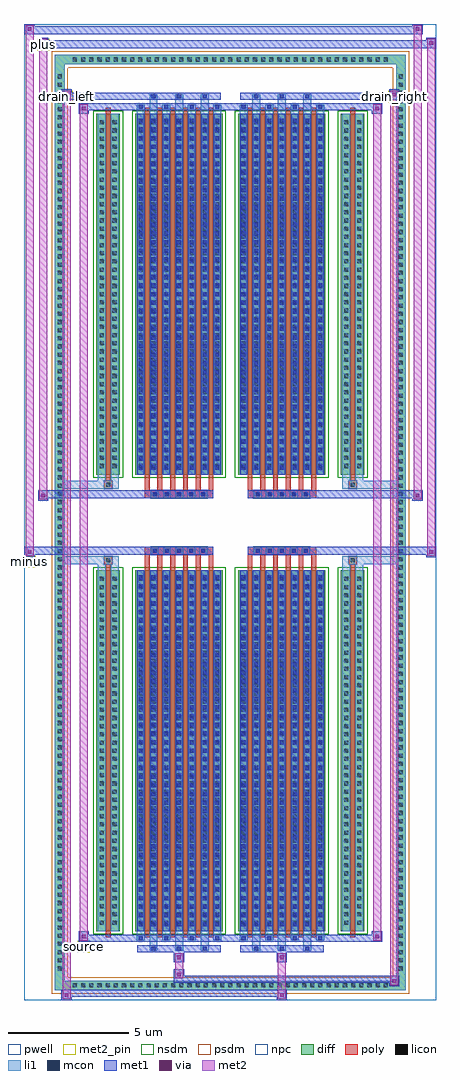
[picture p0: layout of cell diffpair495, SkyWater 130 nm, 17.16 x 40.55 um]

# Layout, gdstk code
import gdstk
lib = gdstk.Library(unit=1e-6, precision=5e-09)
def R(c, l, rs):  # rectangles x0, y0, x1, y1
    for r in rs: c.add(gdstk.rectangle(r[:2], r[2:], *l))
def A(c, l, x, y, w, h, nx, ny, dx, dy):  # array of equal rectangles
    R(c, l, [(x+i*dx, y+j*dy, x+i*dx+w, y+j*dy+h) for i in range(nx) for j in range(ny)])
def P(c, l, *ps):  # polygons
    for p in ps: c.add(gdstk.Polygon(p, *l))
pwell = (64, 44)
diff = (65, 20)
poly = (66, 20)
licon = (66, 44)
li1 = (67, 20)
mcon = (67, 44)
met1 = (68, 20)
via = (68, 44)
met2_pin = (69, 16)
met2 = (69, 20)
nsdm = (93, 44)
psdm = (94, 20)
npc = (95, 20)

diffpair495 = lib.new_cell('diffpair495')
R(diffpair495, pwell, [(-8.56,-19.84,8.56,20.71), (-5.88,-18.03,-0.01,-0.805), (0.01,-18.03,5.88,-0.805), (-5.88,0.805,-0.01,18.03), (0.01,0.805,5.88,18.03)])
A(diffpair495, diff, -6.665, -19.44, 0.41, 0.41, 39, 2, 0.34, 38.47)
A(diffpair495, diff, -7.29, -18.735, 0.41, 0.41, 1, 110, 0, 0.34)
A(diffpair495, diff, 6.88, -18.735, 0.41, 0.41, 1, 110, 0, 0.34)
R(diffpair495, diff, [(-6.665,-19.44,6.665,-19.03), (-7.29,-18.735,-6.88,18.735), (6.88,-18.735,7.29,18.735), (-5.57,-16.985,-4.59,-1.985), (-3.95,-16.985,-0.32,-1.985), (0.32,-16.985,3.95,-1.985), (4.59,-16.985,5.57,-1.985), (-5.57,1.985,-4.59,16.985), (-3.95,1.985,-0.32,16.985), (0.32,1.985,3.95,16.985), (4.59,1.985,5.57,16.985), (-6.665,19.03,6.665,19.44)])
P(diffpair495, diff, [(7.29,19.44),(-7.29,19.44),(-7.29,-19.03),(-6.88,-19.03),(-6.88,19.03),(6.88,19.03),(6.88,-19.03),(-6.88,-19.03),(-7.29,-19.03),(-7.29,-19.44),(7.29,-19.44)])
A(diffpair495, poly, -3.56, -17.235, 0.2, 15.5, 6, 2, 0.53, 18.97)
A(diffpair495, poly, 0.71, -17.235, 0.2, 15.5, 6, 2, 0.53, 18.97)
A(diffpair495, poly, -3.56, -1.735, 0.2, 0.4, 6, 2, 0.53, 3.07)
A(diffpair495, poly, 0.71, -1.735, 0.2, 0.4, 6, 2, 0.53, 3.07)
A(diffpair495, poly, -3.3, -1.335, 0.33, 0.33, 5, 2, 0.5, 2.34)
A(diffpair495, poly, 0.97, -1.335, 0.33, 0.33, 5, 2, 0.5, 2.34)
R(diffpair495, poly, [(-5.18,-17.235,-4.98,-1.735), (4.98,-17.235,5.18,-1.735), (-5.245,-1.735,-4.915,-1.405), (-5.245,-1.735,-4.915,-1.405), (4.915,-1.735,5.245,-1.405), (4.915,-1.735,5.245,-1.405), (-3.56,-1.335,-0.71,-1.005), (0.71,-1.335,3.56,-1.005), (-3.56,1.005,-0.71,1.335), (0.71,1.005,3.56,1.335), (-5.245,1.405,-4.915,1.735), (-5.245,1.405,-4.915,1.735), (4.915,1.405,5.245,1.735), (4.915,1.405,5.245,1.735), (-5.18,1.735,-4.98,17.235), (4.98,1.735,5.18,17.235)])
A(diffpair495, licon, -6.545, -19.32, 0.17, 0.17, 39, 2, 0.34, 38.47)
A(diffpair495, licon, -7.17, -18.615, 0.17, 0.17, 1, 110, 0, 0.34)
A(diffpair495, licon, 7, -18.615, 0.17, 0.17, 1, 110, 0, 0.34)
A(diffpair495, licon, -5.43, -16.71, 0.17, 0.17, 1, 43, 0, 0.34)
A(diffpair495, licon, -4.9, -16.71, 0.17, 0.17, 1, 43, 0, 0.34)
A(diffpair495, licon, -3.81, -16.71, 0.17, 0.17, 7, 43, 0.53, 0.34)
A(diffpair495, licon, 0.46, -16.71, 0.17, 0.17, 7, 43, 0.53, 0.34)
A(diffpair495, licon, 4.73, -16.71, 0.17, 0.17, 1, 43, 0, 0.34)
A(diffpair495, licon, 5.26, -16.71, 0.17, 0.17, 1, 43, 0, 0.34)
A(diffpair495, licon, -3.22, -1.255, 0.17, 0.17, 5, 2, 0.5, 2.34)
A(diffpair495, licon, 1.05, -1.255, 0.17, 0.17, 5, 2, 0.5, 2.34)
A(diffpair495, licon, -5.43, 2.26, 0.17, 0.17, 1, 43, 0, 0.34)
A(diffpair495, licon, -4.9, 2.26, 0.17, 0.17, 1, 43, 0, 0.34)
A(diffpair495, licon, -3.81, 2.26, 0.17, 0.17, 7, 43, 0.53, 0.34)
A(diffpair495, licon, 0.46, 2.26, 0.17, 0.17, 7, 43, 0.53, 0.34)
A(diffpair495, licon, 4.73, 2.26, 0.17, 0.17, 1, 43, 0, 0.34)
A(diffpair495, licon, 5.26, 2.26, 0.17, 0.17, 1, 43, 0, 0.34)
R(diffpair495, licon, [(-5.165,-1.655,-4.995,-1.485), (4.995,-1.655,5.165,-1.485), (-5.165,1.485,-4.995,1.655), (4.995,1.485,5.165,1.655)])
A(diffpair495, li1, -6.625, -19.4, 0.33, 0.33, 39, 2, 0.34, 38.47)
A(diffpair495, li1, -7.25, -18.695, 0.33, 0.33, 1, 110, 0, 0.34)
A(diffpair495, li1, 6.92, -18.695, 0.33, 0.33, 1, 110, 0, 0.34)
A(diffpair495, li1, -3.36, -17.79, 0.33, 0.805, 3, 2, 1.06, 34.775)
A(diffpair495, li1, -3.28, -17.79, 0.17, 0.17, 3, 2, 1.06, 35.41)
A(diffpair495, li1, 0.91, -17.79, 0.33, 0.805, 3, 2, 1.06, 34.775)
A(diffpair495, li1, 0.99, -17.79, 0.17, 0.17, 3, 2, 1.06, 35.41)
A(diffpair495, li1, -3.89, -17.36, 0.33, 0.375, 4, 2, 1.06, 34.345)
A(diffpair495, li1, -3.81, -17.36, 0.17, 0.17, 4, 2, 1.06, 34.55)
A(diffpair495, li1, 0.38, -17.36, 0.33, 0.375, 4, 2, 1.06, 34.345)
A(diffpair495, li1, 0.46, -17.36, 0.17, 0.17, 4, 2, 1.06, 34.55)
A(diffpair495, li1, -3.89, -16.985, 0.33, 15, 7, 2, 0.53, 18.97)
A(diffpair495, li1, 0.38, -16.985, 0.33, 15, 7, 2, 0.53, 18.97)
A(diffpair495, li1, -5.51, -16.79, 0.33, 0.33, 1, 43, 0, 0.34)
A(diffpair495, li1, -4.98, -16.79, 0.33, 0.33, 1, 43, 0, 0.34)
A(diffpair495, li1, -3.89, -16.79, 0.33, 0.33, 7, 43, 0.53, 0.34)
A(diffpair495, li1, 0.38, -16.79, 0.33, 0.33, 7, 43, 0.53, 0.34)
A(diffpair495, li1, 4.65, -16.79, 0.33, 0.33, 1, 43, 0, 0.34)
A(diffpair495, li1, 5.18, -16.79, 0.33, 0.33, 1, 43, 0, 0.34)
A(diffpair495, li1, -3.81, -16.77, 0.17, 0.17, 7, 41, 0.53, 0.36)
A(diffpair495, li1, -3.81, -16.77, 0.17, 14.57, 7, 2, 0.53, 18.97)
A(diffpair495, li1, 0.46, -16.77, 0.17, 0.17, 7, 41, 0.53, 0.36)
A(diffpair495, li1, 0.46, -16.77, 0.17, 14.57, 7, 2, 0.53, 18.97)
A(diffpair495, li1, -3.3, -1.335, 0.33, 0.33, 5, 2, 0.5, 2.34)
A(diffpair495, li1, 0.97, -1.335, 0.33, 0.33, 5, 2, 0.5, 2.34)
A(diffpair495, li1, -5.51, 2.18, 0.33, 0.33, 1, 43, 0, 0.34)
A(diffpair495, li1, -4.98, 2.18, 0.33, 0.33, 1, 43, 0, 0.34)
A(diffpair495, li1, -3.89, 2.18, 0.33, 0.33, 7, 43, 0.53, 0.34)
A(diffpair495, li1, 0.38, 2.18, 0.33, 0.33, 7, 43, 0.53, 0.34)
A(diffpair495, li1, 4.65, 2.18, 0.33, 0.33, 1, 43, 0, 0.34)
A(diffpair495, li1, 5.18, 2.18, 0.33, 0.33, 1, 43, 0, 0.34)
A(diffpair495, li1, -3.81, 2.2, 0.17, 0.17, 7, 41, 0.53, 0.36)
A(diffpair495, li1, 0.46, 2.2, 0.17, 0.17, 7, 41, 0.53, 0.36)
R(diffpair495, li1, [(-7.29,-19.44,-6.88,-19.03), (-7.29,-19.44,-6.88,-19.03), (-6.88,-19.44,6.88,-19.03), (6.88,-19.44,7.29,-19.03), (6.88,-19.44,7.29,-19.03), (-7.29,-19.03,-6.88,19.03), (6.88,-19.03,7.29,19.03), (-5.51,-16.985,-5.18,-1.985), (-4.98,-16.985,-4.65,-1.985), (4.65,-16.985,4.98,-1.985), (5.18,-16.985,5.51,-1.985), (-5.51,-1.985,-5.18,-1.405), (-4.98,-1.985,-4.65,-1.405), (4.65,-1.985,4.98,-1.405), (5.18,-1.985,5.51,-1.405), (-7.29,-1.735,-5.245,-1.405), (-5.51,-1.735,-5.245,-1.405), (-5.245,-1.735,-4.915,-1.405), (-4.915,-1.735,-4.65,-1.405), (4.65,-1.735,4.915,-1.405), (4.915,-1.735,5.245,-1.405), (4.915,-1.735,7.29,-1.405), (5.245,-1.735,5.51,-1.405), (-7.29,1.405,-5.245,1.735), (-5.51,1.405,-5.245,1.735), (-5.51,1.405,-5.18,1.985), (-5.245,1.405,-4.915,1.735), (-4.98,1.405,-4.65,1.985), (-4.915,1.405,-4.65,1.735), (4.65,1.405,4.915,1.735), (4.65,1.405,4.98,1.985), (4.915,1.405,5.245,1.735), (4.915,1.405,7.29,1.735), (5.18,1.405,5.51,1.985), (5.245,1.405,5.51,1.735), (-5.51,1.985,-5.18,16.985), (-4.98,1.985,-4.65,16.985), (4.65,1.985,4.98,16.985), (5.18,1.985,5.51,16.985), (-7.29,19.03,-6.88,19.44), (-7.29,19.03,-6.88,19.44), (-6.88,19.03,6.88,19.44), (6.88,19.03,7.29,19.44), (6.88,19.03,7.29,19.44)])
A(diffpair495, mcon, -3.28, -17.79, 0.17, 0.17, 3, 2, 1.06, 35.41)
A(diffpair495, mcon, 0.99, -17.79, 0.17, 0.17, 3, 2, 1.06, 35.41)
A(diffpair495, mcon, -3.81, -17.36, 0.17, 0.17, 4, 2, 1.06, 34.55)
A(diffpair495, mcon, 0.46, -17.36, 0.17, 0.17, 4, 2, 1.06, 34.55)
A(diffpair495, mcon, -3.81, -16.77, 0.17, 0.17, 7, 41, 0.53, 0.36)
A(diffpair495, mcon, 0.46, -16.77, 0.17, 0.17, 7, 41, 0.53, 0.36)
A(diffpair495, mcon, -3.22, -1.255, 0.17, 0.17, 5, 2, 0.5, 2.34)
A(diffpair495, mcon, 1.05, -1.255, 0.17, 0.17, 5, 2, 0.5, 2.34)
A(diffpair495, mcon, -3.81, 2.2, 0.17, 0.17, 7, 41, 0.53, 0.36)
A(diffpair495, mcon, 0.46, 2.2, 0.17, 0.17, 7, 41, 0.53, 0.36)
A(diffpair495, met1, -3.34, -17.85, 0.29, 0.29, 3, 2, 1.06, 35.41)
A(diffpair495, met1, 0.93, -17.85, 0.29, 0.29, 3, 2, 1.06, 35.41)
A(diffpair495, met1, -3.87, -17.42, 0.29, 0.29, 4, 2, 1.06, 34.55)
A(diffpair495, met1, 0.4, -17.42, 0.29, 0.29, 4, 2, 1.06, 34.55)
A(diffpair495, met1, -3.87, -16.985, 0.29, 15, 7, 2, 0.53, 18.97)
A(diffpair495, met1, 0.4, -16.985, 0.29, 15, 7, 2, 0.53, 18.97)
A(diffpair495, met1, -3.87, -16.83, 0.29, 0.29, 7, 41, 0.53, 0.36)
A(diffpair495, met1, 0.4, -16.83, 0.29, 0.29, 7, 41, 0.53, 0.36)
A(diffpair495, met1, -3.28, -1.315, 0.29, 0.29, 5, 2, 0.5, 2.34)
A(diffpair495, met1, 0.99, -1.315, 0.29, 0.29, 5, 2, 0.5, 2.34)
A(diffpair495, met1, -3.87, 2.14, 0.29, 0.29, 7, 41, 0.53, 0.36)
A(diffpair495, met1, 0.4, 2.14, 0.29, 0.29, 7, 41, 0.53, 0.36)
R(diffpair495, met1, [(-7.02,-19.84,-6.59,-19.41), (1.92,-19.84,2.35,-19.41), (-7.02,-19.7,2.35,-19.41), (6.59,-19.27,7.02,-18.84), (-2.35,-19.13,7.02,-18.84), (-2.35,-18.99,-1.92,-18.56), (-2.35,-18.28,-1.92,-17.85), (1.92,-18.28,2.35,-17.85), (-3.87,-17.85,-0.4,-17.56), (0.4,-17.85,3.87,-17.56), (-6.31,-17.42,-5.88,-16.99), (-6.31,-17.42,-3.87,-17.13), (-3.87,-17.42,-0.4,-17.13), (-0.4,-17.42,0.4,-17.13), (0.4,-17.42,3.87,-17.13), (3.87,-17.42,6.31,-17.13), (5.88,-17.42,6.31,-16.99), (-8.56,-1.435,-8.13,-1.005), (8.13,-1.435,8.56,-1.005), (-8.56,-1.335,-0.71,-1.005), (-3.56,-1.335,-0.71,-1.005), (0.71,-1.335,3.56,-1.005), (0.71,-1.335,8.56,-1.005), (-7.99,0.905,-7.56,1.335), (7.56,0.905,7.99,1.335), (-7.99,1.005,-3.56,1.335), (-3.56,1.005,-0.71,1.335), (0.71,1.005,3.56,1.335), (3.56,1.005,7.99,1.335), (-6.31,16.99,-5.88,17.42), (5.88,16.99,6.31,17.42), (-6.31,17.13,-3.87,17.42), (-3.87,17.13,-0.4,17.42), (-0.4,17.13,0.4,17.42), (0.4,17.13,3.87,17.42), (3.87,17.13,6.31,17.42), (-7.02,17.56,-6.59,17.99), (-7.02,17.56,-3.87,17.85), (-3.87,17.56,-0.4,17.85), (0.4,17.56,3.87,17.85), (3.87,17.56,7.02,17.85), (6.59,17.56,7.02,17.99), (-7.99,19.71,-7.56,20.14), (-7.99,19.71,-5.88,20.04), (-5.88,19.71,5.88,20.04), (5.88,19.71,8.56,20.04), (8.13,19.71,8.56,20.14), (-8.56,20.28,-8.13,20.71), (-8.56,20.28,-5.88,20.61), (-5.88,20.28,5.88,20.61), (5.88,20.28,7.99,20.61), (7.56,20.28,7.99,20.71)])
R(diffpair495, via, [(-6.88,-19.7,-6.73,-19.55), (2.06,-19.7,2.21,-19.55), (6.73,-19.13,6.88,-18.98), (-2.21,-18.85,-2.06,-18.7), (-2.21,-18.14,-2.06,-17.99), (2.06,-18.14,2.21,-17.99), (-6.17,-17.28,-6.02,-17.13), (6.02,-17.28,6.17,-17.13), (-8.42,-1.295,-8.27,-1.145), (8.27,-1.295,8.42,-1.145), (-7.85,1.045,-7.7,1.195), (7.7,1.045,7.85,1.195), (-6.17,17.13,-6.02,17.28), (6.02,17.13,6.17,17.28), (-6.88,17.7,-6.73,17.85), (6.73,17.7,6.88,17.85), (-7.85,19.85,-7.7,20), (8.27,19.85,8.42,20), (-8.42,20.42,-8.27,20.57), (7.7,20.42,7.85,20.57)])
R(diffpair495, met2_pin, [(-6.345,-17.87,-5.845,-17.37), (-8.595,-1.885,-8.095,-1.385), (-7.055,17.44,-6.555,17.94), (6.555,17.44,7.055,17.94), (-8.025,19.59,-7.525,20.09)])
R(diffpair495, met2, [(-6.97,-19.79,-6.64,-19.46), (-6.97,-19.79,-6.64,17.94), (1.97,-19.79,2.3,-19.46), (1.97,-19.46,2.3,-18.23), (6.64,-19.22,6.97,-18.89), (6.64,-19.22,6.97,17.94), (-2.3,-18.94,-1.97,-18.61), (-2.3,-18.61,-1.97,-18.23), (-2.3,-18.23,-1.97,-17.9), (1.97,-18.23,2.3,-17.9), (-6.26,-17.37,-5.93,-17.04), (-6.26,-17.37,-5.93,17.37), (5.93,-17.37,6.26,-17.04), (5.93,-17.37,6.26,17.37), (-8.51,-1.385,-8.18,-1.055), (-8.51,-1.385,-8.18,20.66), (8.18,-1.385,8.51,-1.055), (8.18,-1.385,8.51,20.09), (-7.94,0.955,-7.61,1.285), (-7.94,0.955,-7.61,20.09), (7.61,0.955,7.94,1.285), (7.61,0.955,7.94,20.66), (-6.26,17.04,-5.93,17.37), (5.93,17.04,6.26,17.37), (-6.97,17.61,-6.64,17.94), (6.64,17.61,6.97,17.94), (-7.94,19.76,-7.61,20.09), (8.18,19.76,8.51,20.09), (-8.51,20.33,-8.18,20.66), (7.61,20.33,7.94,20.66)])
P(diffpair495, met2, [(8.51,-1.385),(8.51,-1.385),(8.51,-1.055),(8.51,-1.055)],
  [(8.51,19.76),(8.51,19.76),(8.51,20.09),(8.51,20.09)],
  [(-8.18,-1.385),(-8.18,-1.385),(-8.18,-1.055),(-8.18,-1.055)],
  [(-8.18,20.33),(-8.18,20.33),(-8.18,20.66),(-8.18,20.66)],
  [(7.94,0.955),(7.94,0.955),(7.94,1.285),(7.94,1.285)],
  [(7.94,20.33),(7.94,20.33),(7.94,20.66),(7.94,20.66)],
  [(-7.61,0.955),(-7.61,0.955),(-7.61,1.285),(-7.61,1.285)],
  [(-7.61,19.76),(-7.61,19.76),(-7.61,20.09),(-7.61,20.09)],
  [(-6.64,-19.79),(-6.64,-19.79),(-6.64,-19.46),(-6.64,-19.46)],
  [(-6.64,17.61),(-6.64,17.61),(-6.64,17.94),(-6.64,17.94)],
  [(6.97,-19.22),(6.97,-19.22),(6.97,-18.89),(6.97,-18.89)],
  [(6.97,17.61),(6.97,17.61),(6.97,17.94),(6.97,17.94)],
  [(-5.93,-17.37),(-5.93,-17.37),(-5.93,-17.04),(-5.93,-17.04)],
  [(-5.93,17.04),(-5.93,17.04),(-5.93,17.37),(-5.93,17.37)],
  [(6.26,-17.37),(6.26,-17.37),(6.26,-17.04),(6.26,-17.04)],
  [(6.26,17.04),(6.26,17.04),(6.26,17.37),(6.26,17.37)])
R(diffpair495, nsdm, [(-5.7,-17.115,-4.46,-1.855), (-4.08,-17.115,-0.19,-1.855), (0.19,-17.115,4.08,-1.855), (4.46,-17.115,5.7,-1.855), (-5.7,1.855,-4.46,17.115), (-4.08,1.855,-0.19,17.115), (0.19,1.855,4.08,17.115), (4.46,1.855,5.7,17.115)])
P(diffpair495, psdm, [(7.42,19.57),(-7.42,19.57),(-7.42,-18.9),(-6.75,-18.9),(-6.75,18.9),(6.75,18.9),(6.75,-18.9),(-6.75,-18.9),(-7.42,-18.9),(-7.42,-19.57),(7.42,-19.57)])
A(diffpair495, npc, -3.32, -1.355, 0.37, 0.37, 5, 2, 0.5, 2.34)
A(diffpair495, npc, 0.95, -1.355, 0.37, 0.37, 5, 2, 0.5, 2.34)
R(diffpair495, npc, [(-5.265,-1.755,-4.895,-1.385), (4.895,-1.755,5.265,-1.385), (-3.32,-1.355,-2.45,-0.985), (-3.32,-1.355,-2.45,-0.985), (-2.82,-1.355,-1.95,-0.985), (-2.82,-1.355,-1.95,-0.985), (-2.32,-1.355,-1.45,-0.985), (-2.32,-1.355,-1.45,-0.985), (-1.82,-1.355,-0.95,-0.985), (-1.82,-1.355,-0.95,-0.985), (0.95,-1.355,1.82,-0.985), (0.95,-1.355,1.82,-0.985), (1.45,-1.355,2.32,-0.985), (1.45,-1.355,2.32,-0.985), (1.95,-1.355,2.82,-0.985), (1.95,-1.355,2.82,-0.985), (2.45,-1.355,3.32,-0.985), (2.45,-1.355,3.32,-0.985), (-3.32,0.985,-2.45,1.355), (-3.32,0.985,-2.45,1.355), (-2.82,0.985,-1.95,1.355), (-2.82,0.985,-1.95,1.355), (-2.32,0.985,-1.45,1.355), (-2.32,0.985,-1.45,1.355), (-1.82,0.985,-0.95,1.355), (-1.82,0.985,-0.95,1.355), (0.95,0.985,1.82,1.355), (0.95,0.985,1.82,1.355), (1.45,0.985,2.32,1.355), (1.45,0.985,2.32,1.355), (1.95,0.985,2.82,1.355), (1.95,0.985,2.82,1.355), (2.45,0.985,3.32,1.355), (2.45,0.985,3.32,1.355), (-5.265,1.385,-4.895,1.755), (4.895,1.385,5.265,1.755)])
diffpair495.add(gdstk.Label('minus', (-8.345,-1.635), layer=69, texttype=5))
diffpair495.add(gdstk.Label('drain_right', (6.805,17.69), layer=69, texttype=5))
diffpair495.add(gdstk.Label('drain_left', (-6.805,17.69), layer=69, texttype=5))
diffpair495.add(gdstk.Label('source', (-6.095,-17.62), layer=69, texttype=5))
diffpair495.add(gdstk.Label('plus', (-7.775,19.84), layer=69, texttype=5))

lib.write_gds('diffpair495.gds')
